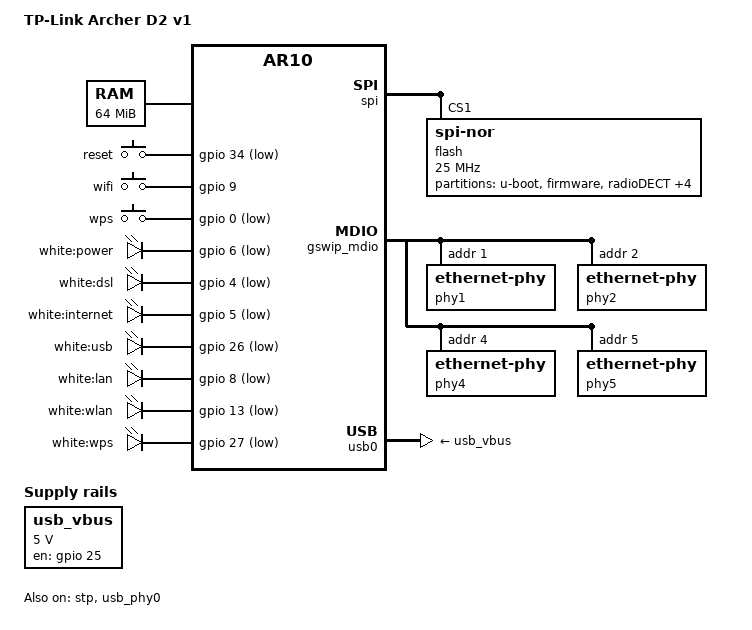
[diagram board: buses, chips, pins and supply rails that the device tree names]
// SPDX-License-Identifier: GPL-2.0-or-later OR MIT

#include "ar10.dtsi"

#include <dt-bindings/input/input.h>
#include <dt-bindings/mips/lantiq_rcu_gphy.h>

/ {
	compatible = "tplink,archer-d2", "lantiq,xway", "lantiq,ar10";
	model = "TP-Link Archer D2 v1";

	memory@0 {
		device_type = "memory";
		reg = <0x0 0x4000000>;
	};

	aliases {
		led-boot = &led_power;
		led-failsafe = &led_power;
		led-running = &led_power;
		led-upgrade = &led_power;

		led-dsl = &led_dsl;
		led-internet = &led_internet;
		led-wifi = &led_wlan;
	};

	keys {
		compatible = "gpio-keys-polled";
		poll-interval = <100>;

		reset {
			label = "reset";
			gpios = <&gpio 34 GPIO_ACTIVE_LOW>;
			linux,code = <KEY_RESTART>;
		};

		wifi {
			label = "wifi";
			gpios = <&gpio 9 GPIO_ACTIVE_HIGH>;
			linux,code = <KEY_RFKILL>;
			linux,input-type = <EV_SW>;
		};

		wps {
			label = "wps";
			gpios = <&gpio 0 GPIO_ACTIVE_LOW>;
			linux,code = <KEY_WPS_BUTTON>;
		};
	};

	leds: leds {
		compatible = "gpio-leds";

		led_power: power {
			label = "white:power";
			gpios = <&gpio 6 GPIO_ACTIVE_LOW>;
			default-state = "keep";
		};

		led_dsl: dsl {
			label = "white:dsl";
			gpios = <&gpio 4 GPIO_ACTIVE_LOW>;
		};

		led_internet: internet {
			label = "white:internet";
			gpios = <&gpio 5 GPIO_ACTIVE_LOW>;
		};

		usb {
			label = "white:usb";
			gpios = <&gpio 26 GPIO_ACTIVE_LOW>;
			trigger-sources = <&ehci_port1>;
			linux,default-trigger = "usbport";
		};

		lan {
			label = "white:lan";
			gpios = <&gpio 8 GPIO_ACTIVE_LOW>;
		};

		led_wlan: wlan {
			label = "white:wlan";
			gpios = <&gpio 13 GPIO_ACTIVE_LOW>;
		};

		wps {
			label = "white:wps";
			gpios = <&gpio 27 GPIO_ACTIVE_LOW>;
		};
	};

	usb_vbus: regulator-usb-vbus {
		compatible = "regulator-fixed";

		regulator-name = "USB_VBUS";

		regulator-min-microvolt = <5000000>;
		regulator-max-microvolt = <5000000>;

		gpio = <&gpio 25 GPIO_ACTIVE_HIGH>;
		enable-active-high;
	};
};

&spi {
	status = "okay";

	flash@0 {
		compatible = "jedec,spi-nor";
		reg = <1>;
		spi-max-frequency = <25000000>;
		m25p,fast-read;

		partitions {
			compatible = "fixed-partitions";
						#address-cells = <1>;
						#size-cells = <1>;

			partition@0 {
				reg = <0x0 0x20000>;
				label = "u-boot";
				read-only;
			};

			partition@20000 {
				reg = <0x20000 0xf90000>;
				label = "firmware";
			};

			partition@fb0000 {
				reg = <0xfb0000 0x10000>;
				label = "radioDECT";
				read-only;
			};

			partition@fc0000 {
				reg = <0xfc0000 0x10000>;
				label = "config";
				read-only;
			};

			romfile: partition@fd0000 {
				reg = <0xfd0000 0x10000>;
				label = "romfile";
				read-only;
			};

			partition@fe0000 {
				reg = <0xfe0000 0x10000>;
				label = "rom";
				read-only;
			};

			radio: partition@ff0000 {
				reg = <0xff0000 0x10000>;
				label = "radio";
				read-only;
			};
		};
	};
};

&eth0 {
	pinctrl-names = "default";
	mtd-mac-address = <&romfile 0xf100>;
};

&gswip {
	pinctrl-0 = <&mdio_pins>;
	pinctrl-names = "default";
};

&gphy0 {
	lantiq,gphy-mode = <GPHY_MODE_GE>;
};
&gphy1 {
	lantiq,gphy-mode = <GPHY_MODE_GE>;
};
&gphy2 {
	lantiq,gphy-mode = <GPHY_MODE_GE>;
};

&gswip_mdio {
	phy1: ethernet-phy@1 {
		reg = <0x1>;
	};
	phy2: ethernet-phy@2 {
		reg = <0x2>;
	};
	phy4: ethernet-phy@4 {
		reg = <0x4>;
	};
	phy5: ethernet-phy@5 {
		reg = <0x5>;
	};
};

&gswip_ports {
	port@1 {
		reg = <1>;
		phy-mode = "internal";
		phy-handle = <&phy1>;
		label = "lan1";
	};
	port@2 {
		reg = <2>;
		phy-mode = "internal";
		phy-handle = <&phy2>;
		label = "lan3";
	};
	port@4 {
		reg = <4>;
		phy-mode = "internal";
		phy-handle = <&phy4>;
		label = "lan2";
	};
	port@5 {
		reg = <5>;
		phy-mode = "rgmii";
		phy-handle = <&phy5>;
		label = "lan4";
	};
};

&stp {
	status = "okay";
	lantiq,phy1 = <0x2>;
	lantiq,phy2 = <0x2>;
	lantiq,phy3 = <0x2>;
};

&usb0 {
	status = "okay";
	vbus-supply = <&usb_vbus>;
};

&usb_phy0 {
	status = "okay";
};

&pcie0 {
	pcie@0 {
		reg = <0 0 0 0 0>;
		#interrupt-cells = <1>;
		#size-cells = <2>;
		#address-cells = <3>;
		device_type = "pci";

		wifi@0,0 {
			reg = <0 0 0 0 0>;
			mediatek,mtd-eeprom = <&radio 0x0000>;
			big-endian;
			ieee80211-freq-limit = <5000000 6000000>;
			mtd-mac-address = <&romfile 0xf100>;
			mtd-mac-address-increment = <2>;
		};
	};
};
